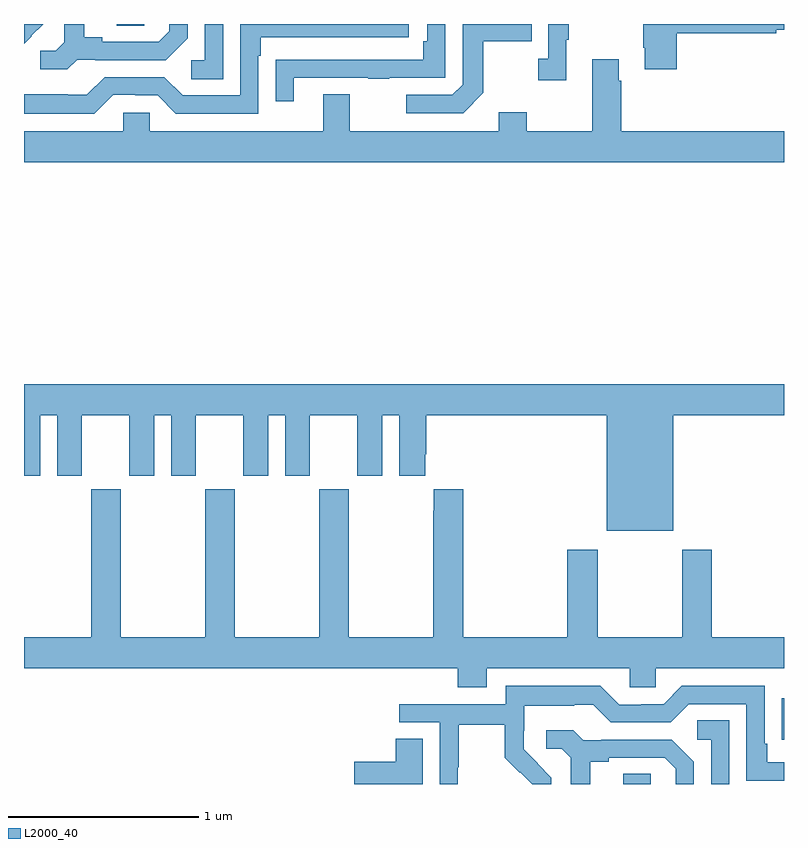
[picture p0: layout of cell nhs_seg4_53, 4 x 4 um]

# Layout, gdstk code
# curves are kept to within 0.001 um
import gdstk
lib = gdstk.Library(unit=1e-6, precision=1e-09)
def R(c, l, rs):  # rectangles x0, y0, x1, y1
    for r in rs: c.add(gdstk.rectangle(r[:2], r[2:], *l))
def P(c, l, *ps):  # polygons
    for p in ps: c.add(gdstk.Polygon(p, *l))
L2000_40 = (2000, 40)

nhs_seg4_53 = lib.new_cell('nhs_seg4_53')
R(nhs_seg4_53, L2000_40, [(116.153,774.9,116.298,774.953), (116.989,775.132,117,775.351), (113.489,778.891,113.634,778.9)])
P(nhs_seg4_53, L2000_40, [(115.417,778.537),(115.417,778.81),(115.673,778.81),(115.673,778.9),(115.308,778.9),(115.308,778.581),(115.254,778.527),(115.011,778.527),(115.011,778.431),(115.311,778.431)],
  [(114.048,778.9),(113.952,778.9),(113.952,778.71),(113.88,778.71),(113.88,778.609),(114.048,778.609)],
  [(113.04,778.836),(113.039,778.837),(113.102,778.9),(113,778.9),(113,778.796)],
  [(113.469,778.527),(113.585,778.527),(113.585,778.524),(113.703,778.524),(113.799,778.428),(114.234,778.428),(114.234,778.733),(114.247,778.733),(114.247,778.83),(115.024,778.83),(115.024,778.9),(114.138,778.9),(114.138,778.524),(113.835,778.524),(113.739,778.62),(113.424,778.62),(113.331,778.527),(113.231,778.527),(113.231,778.531),(113,778.531),(113,778.427),(113.369,778.427)],
  [(115.855,778.817),(115.867,778.817),(115.867,778.9),(115.758,778.9),(115.758,778.718),(115.707,778.718),(115.707,778.605),(115.855,778.605)],
  [(113.28,778.713),(113.374,778.713),(113.374,778.71),(113.746,778.71),(113.862,778.826),(113.862,778.9),(113.765,778.9),(113.765,778.863),(113.708,778.806),(113.413,778.806),(113.413,778.829),(113.317,778.829),(113.317,778.9),(113.213,778.9),(113.213,778.805),(113.166,778.758),(113.085,778.758),(113.085,778.661),(113.228,778.661)],
  [(114.421,778.617),(114.811,778.617),(114.811,778.612),(114.923,778.612),(114.923,778.617),(115.218,778.617),(115.218,778.9),(115.122,778.9),(115.122,778.81),(115.102,778.81),(115.102,778.713),(114.427,778.713),(114.427,778.712),(114.325,778.712),(114.325,778.494),(114.421,778.494)],
  [(116.435,778.852),(116.96,778.852),(116.96,778.871),(117,778.871),(117,778.9),(116.26,778.9),(116.26,778.774),(116.267,778.774),(116.267,778.662),(116.435,778.662)],
  [(117,778.336),(116.144,778.336),(116.144,778.601),(116.131,778.601),(116.131,778.714),(115.991,778.714),(115.991,778.336),(115.647,778.336),(115.647,778.435),(115.499,778.435),(115.499,778.336),(114.715,778.336),(114.715,778.531),(114.575,778.531),(114.575,778.336),(113.661,778.336),(113.661,778.434),(113.523,778.434),(113.523,778.336),(113,778.336),(113,778.172),(117,778.172)],
  [(116.416,776.84),(117,776.84),(117,777.004),(113,777.004),(113,776.523),(113.086,776.523),(113.086,776.84),(113.174,776.84),(113.174,776.523),(113.305,776.523),(113.305,776.84),(113.555,776.84),(113.555,776.523),(113.686,776.523),(113.686,776.84),(113.774,776.84),(113.774,776.523),(113.905,776.523),(113.905,776.84),(114.155,776.84),(114.155,776.523),(114.286,776.523),(114.286,776.84),(114.374,776.84),(114.374,776.523),(114.505,776.523),(114.505,776.84),(114.755,776.84),(114.755,776.523),(114.886,776.523),(114.886,776.84),(114.974,776.84),(114.974,776.523),(115.111,776.523),(115.111,776.635),(115.118,776.635),(115.118,776.84),(116.066,776.84),(116.066,776.234),(116.416,776.234)],
  [(115.435,775.508),(116.187,775.508),(116.187,775.41),(116.325,775.41),(116.325,775.508),(117,775.508),(117,775.672),(116.619,775.672),(116.619,776.134),(116.464,776.134),(116.464,775.672),(116.019,775.672),(116.019,776.134),(115.859,776.134),(115.859,775.672),(115.313,775.672),(115.313,776.452),(115.157,776.452),(115.157,776.339),(115.153,776.339),(115.153,775.672),(114.708,775.672),(114.708,776.452),(114.553,776.452),(114.553,775.672),(114.108,775.672),(114.108,776.452),(113.953,776.452),(113.953,775.672),(113.508,775.672),(113.508,776.452),(113.353,776.452),(113.353,775.672),(113,775.672),(113,775.508),(115.283,775.508),(115.283,775.409),(115.435,775.409)],
  [(115.284,774.988),(115.287,774.988),(115.287,775.212),(115.531,775.212),(115.531,775.037),(115.608,774.96),(115.611,774.963),(115.675,774.9),(115.776,774.9),(115.776,774.934),(115.63,775.082),(115.63,775.179),(115.632,775.179),(115.632,775.313),(115.895,775.313),(115.895,775.317),(115.995,775.317),(116.088,775.224),(116.403,775.224),(116.499,775.32),(116.802,775.32),(116.802,774.918),(117,774.918),(117,775.014),(116.911,775.014),(116.911,775.111),(116.898,775.111),(116.898,775.416),(116.463,775.416),(116.367,775.32),(116.249,775.32),(116.249,775.317),(116.133,775.317),(116.033,775.417),(115.536,775.417),(115.536,775.32),(114.975,775.32),(114.975,775.224),(115.188,775.224),(115.188,774.9),(115.284,774.9)],
  [(116.712,775.235),(116.544,775.235),(116.544,775.134),(116.616,775.134),(116.616,774.9),(116.712,774.9)],
  [(115.981,775.016),(116.077,775.016),(116.077,775.038),(116.372,775.038),(116.429,774.981),(116.429,774.9),(116.526,774.9),(116.526,775.018),(116.41,775.134),(116.038,775.134),(116.038,775.131),(115.944,775.131),(115.892,775.183),(115.749,775.183),(115.749,775.086),(115.83,775.086),(115.877,775.039),(115.877,774.9),(115.981,774.9)],
  [(115.099,775.139),(114.956,775.139),(114.956,775.016),(114.738,775.016),(114.738,774.9),(115.099,774.9)])

lib.write_gds('nhs_seg4_53.gds')
